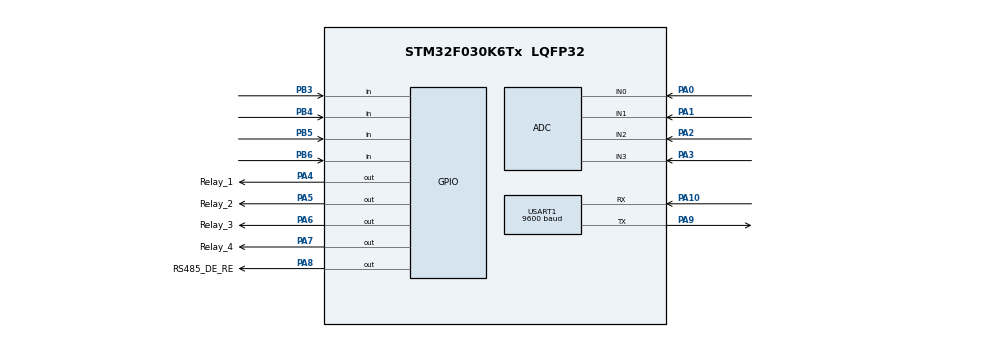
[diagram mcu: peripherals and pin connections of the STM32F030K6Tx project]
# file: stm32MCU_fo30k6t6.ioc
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Mcu.Family=STM32F0
Mcu.Name=STM32F030K6Tx
Mcu.Package=LQFP32
NVIC.USART1_IRQn=true\:0\:0\:false\:false\:true\:true\:true\:true
PA0.Mode=IN0
PA0.Signal=ADC_IN0
PA1.Mode=IN1
PA1.Signal=ADC_IN1
PA10.Mode=Asynchronous
PA10.Signal=USART1_RX
PA2.Mode=IN2
PA2.Signal=ADC_IN2
PA3.Mode=IN3
PA3.Signal=ADC_IN3
PA4.GPIO_Label=Relay_1
PA4.GPIO_PuPd=GPIO_NOPULL
PA4.Signal=GPIO_Output
PA5.GPIO_Label=Relay_2
PA5.Signal=GPIO_Output
PA6.GPIO_Label=Relay_3
PA6.Signal=GPIO_Output
PA7.GPIO_Label=Relay_4
PA7.Signal=GPIO_Output
PA8.GPIO_Label=RS485_DE_RE
PA8.Signal=GPIO_Output
PA9.Mode=Asynchronous
PA9.Signal=USART1_TX
PB3.GPIO_PuPd=GPIO_PULLUP
PB3.Signal=GPIO_Input
PB4.GPIO_PuPd=GPIO_PULLUP
PB4.Signal=GPIO_Input
PB5.GPIO_PuPd=GPIO_PULLUP
PB5.Signal=GPIO_Input
PB6.GPIO_PuPd=GPIO_PULLUP
PB6.Signal=GPIO_Input
ProjectManager.HeapSize=0x200
ProjectManager.StackSize=0x400
ProjectManager.TargetToolchain=STM32CubeIDE
USART1.BaudRate=9600
USART1.VirtualMode-Asynchronous=VM_ASYNC
board=custom

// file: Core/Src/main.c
/* USER CODE BEGIN Header */
/**
  ******************************************************************************
  * @file           : main.c
  * @brief          : Main program body
  ******************************************************************************
  * @attention
  *
  * Copyright (c) 2026 STMicroelectronics.
  * All rights reserved.
  *
  * This software is licensed under terms that can be found in the LICENSE file
  * in the root directory of this software component.
  * If no LICENSE file comes with this software, it is provided AS-IS.
  *
  ******************************************************************************
  */
/* USER CODE END Header */
#include "main.h"

/* USER CODE BEGIN Includes */
#include <stdio.h>   // for sprintf
#include <string.h>  // for strlen
/* USER CODE END Includes */

ADC_HandleTypeDef hadc;

UART_HandleTypeDef huart1;

/* USER CODE BEGIN PV */

#define RX_BUFFER_SIZE 64
uint8_t rxBuffer[RX_BUFFER_SIZE];

uint16_t adcValue[4] ={0};
void My_ADC_Init(void);
static HAL_StatusTypeDef My_ADC_ConfigChannel(uint32_t channel);
uint16_t My_ADC_Read(uint32_t channel);

#define NUM_COILS 4
uint8_t coilStatus[NUM_COILS] = {0};
uint16_t coilPinMap[NUM_COILS] = {Relay_1_Pin, Relay_2_Pin, Relay_3_Pin, Relay_4_Pin};
GPIO_TypeDef* coilPortMap[NUM_COILS] = {Relay_1_GPIO_Port, Relay_2_GPIO_Port, Relay_3_GPIO_Port, Relay_4_GPIO_Port};
/* USER CODE END PV */

void SystemClock_Config(void);
static void MX_GPIO_Init(void);
static void MX_ADC_Init(void);
static void MX_USART1_UART_Init(void);
/* USER CODE BEGIN PFP */
uint16_t Analog_Read(uint32_t channel);

/* USER CODE END PFP */

int main(void)
{

  /* MCU Configuration--------------------------------------------------------*/

  /* Reset of all peripherals, Initializes the Flash interface and the Systick. */
  HAL_Init();

  /* Configure the system clock */
  SystemClock_Config();

  /* Initialize all configured peripherals */
  MX_GPIO_Init();
  MX_ADC_Init();
  MX_USART1_UART_Init();
  /* USER CODE BEGIN 2 */
  My_ADC_Init();

  HAL_GPIO_WritePin(RS485_DE_RE_GPIO_Port, RS485_DE_RE_Pin, GPIO_PIN_RESET); // RX mode
  HAL_UARTEx_ReceiveToIdle_IT(&huart1, rxBuffer, RX_BUFFER_SIZE);

  /* USER CODE END 2 */

  /* Infinite loop */
  while (1)
  {

    /* USER CODE BEGIN 3 */

	          adcValue[0] = My_ADC_Read(ADC_CHANNEL_0); // PA0
	  	      HAL_Delay(300);

	  	      adcValue[1] = My_ADC_Read(ADC_CHANNEL_1); // PA1
	  	      HAL_Delay(300);

	  	      adcValue[2] = My_ADC_Read(ADC_CHANNEL_2); // PA2
	  	      HAL_Delay(300);

  }
  /* USER CODE END 3 */
}

void SystemClock_Config(void)
{
  RCC_OscInitTypeDef RCC_OscInitStruct = {0};
  RCC_ClkInitTypeDef RCC_ClkInitStruct = {0};
  RCC_PeriphCLKInitTypeDef PeriphClkInit = {0};

  /** Initializes the RCC Oscillators according to the specified parameters
  * in the RCC_OscInitTypeDef structure.
  */
  RCC_OscInitStruct.OscillatorType = RCC_OSCILLATORTYPE_HSI|RCC_OSCILLATORTYPE_HSI14;
  RCC_OscInitStruct.HSIState = RCC_HSI_ON;
  RCC_OscInitStruct.HSI14State = RCC_HSI14_ON;
  RCC_OscInitStruct.HSICalibrationValue = RCC_HSICALIBRATION_DEFAULT;
  RCC_OscInitStruct.HSI14CalibrationValue = 16;
  RCC_OscInitStruct.PLL.PLLState = RCC_PLL_NONE;
  if (HAL_RCC_OscConfig(&RCC_OscInitStruct) != HAL_OK)
  {
    Error_Handler();
  }

  /** Initializes the CPU, AHB and APB buses clocks
  */
  RCC_ClkInitStruct.ClockType = RCC_CLOCKTYPE_HCLK|RCC_CLOCKTYPE_SYSCLK
                              |RCC_CLOCKTYPE_PCLK1;
  RCC_ClkInitStruct.SYSCLKSource = RCC_SYSCLKSOURCE_HSI;
  RCC_ClkInitStruct.AHBCLKDivider = RCC_SYSCLK_DIV1;
  RCC_ClkInitStruct.APB1CLKDivider = RCC_HCLK_DIV1;

  if (HAL_RCC_ClockConfig(&RCC_ClkInitStruct, FLASH_LATENCY_0) != HAL_OK)
  {
    Error_Handler();
  }
  PeriphClkInit.PeriphClockSelection = RCC_PERIPHCLK_USART1;
  PeriphClkInit.Usart1ClockSelection = RCC_USART1CLKSOURCE_PCLK1;
  if (HAL_RCCEx_PeriphCLKConfig(&PeriphClkInit) != HAL_OK)
  {
    Error_Handler();
  }
}

static void MX_ADC_Init(void)
{

  ADC_ChannelConfTypeDef sConfig = {0};

  /** Configure the global features of the ADC (Clock, Resolution, Data Alignment and number of conversion)
  */
  hadc.Instance = ADC1;
  hadc.Init.ClockPrescaler = ADC_CLOCK_ASYNC_DIV1;
  hadc.Init.Resolution = ADC_RESOLUTION_12B;
  hadc.Init.DataAlign = ADC_DATAALIGN_RIGHT;
  hadc.Init.ScanConvMode = ADC_SCAN_DIRECTION_FORWARD;
  hadc.Init.EOCSelection = ADC_EOC_SINGLE_CONV;
  hadc.Init.LowPowerAutoWait = DISABLE;
  hadc.Init.LowPowerAutoPowerOff = DISABLE;
  hadc.Init.ContinuousConvMode = DISABLE;
  hadc.Init.DiscontinuousConvMode = DISABLE;
  hadc.Init.ExternalTrigConv = ADC_SOFTWARE_START;
  hadc.Init.ExternalTrigConvEdge = ADC_EXTERNALTRIGCONVEDGE_NONE;
  hadc.Init.DMAContinuousRequests = DISABLE;
  hadc.Init.Overrun = ADC_OVR_DATA_PRESERVED;
  if (HAL_ADC_Init(&hadc) != HAL_OK)
  {
    Error_Handler();
  }

  /** Configure for the selected ADC regular channel to be converted.
  */
  sConfig.Channel = ADC_CHANNEL_0;
  sConfig.Rank = ADC_RANK_CHANNEL_NUMBER;
  sConfig.SamplingTime = ADC_SAMPLETIME_1CYCLE_5;
  if (HAL_ADC_ConfigChannel(&hadc, &sConfig) != HAL_OK)
  {
    Error_Handler();
  }

  /** Configure for the selected ADC regular channel to be converted.
  */
  sConfig.Channel = ADC_CHANNEL_1;
  if (HAL_ADC_ConfigChannel(&hadc, &sConfig) != HAL_OK)
  {
    Error_Handler();
  }

  /** Configure for the selected ADC regular channel to be converted.
  */
  sConfig.Channel = ADC_CHANNEL_2;
  if (HAL_ADC_ConfigChannel(&hadc, &sConfig) != HAL_OK)
  {
    Error_Handler();
  }

  /** Configure for the selected ADC regular channel to be converted.
  */
  sConfig.Channel = ADC_CHANNEL_3;
  if (HAL_ADC_ConfigChannel(&hadc, &sConfig) != HAL_OK)
  {
    Error_Handler();
  }

}

static void MX_USART1_UART_Init(void)
{

  huart1.Instance = USART1;
  huart1.Init.BaudRate = 9600;
  huart1.Init.WordLength = UART_WORDLENGTH_8B;
  huart1.Init.StopBits = UART_STOPBITS_1;
  huart1.Init.Parity = UART_PARITY_NONE;
  huart1.Init.Mode = UART_MODE_TX_RX;
  huart1.Init.HwFlowCtl = UART_HWCONTROL_NONE;
  huart1.Init.OverSampling = UART_OVERSAMPLING_16;
  huart1.Init.OneBitSampling = UART_ONE_BIT_SAMPLE_DISABLE;
  huart1.AdvancedInit.AdvFeatureInit = UART_ADVFEATURE_NO_INIT;
  if (HAL_UART_Init(&huart1) != HAL_OK)
  {
    Error_Handler();
  }

}

static void MX_GPIO_Init(void)
{
  GPIO_InitTypeDef GPIO_InitStruct = {0};

  /* GPIO Ports Clock Enable */
  __HAL_RCC_GPIOA_CLK_ENABLE();
  __HAL_RCC_GPIOB_CLK_ENABLE();

  /*Configure GPIO pin Output Level */
  HAL_GPIO_WritePin(GPIOA, Relay_1_Pin|Relay_2_Pin|Relay_3_Pin|Relay_4_Pin
                          |RS485_DE_RE_Pin, GPIO_PIN_RESET);

  /*Configure GPIO pins : Relay_1_Pin Relay_2_Pin Relay_3_Pin Relay_4_Pin
                           RS485_DE_RE_Pin */
  GPIO_InitStruct.Pin = Relay_1_Pin|Relay_2_Pin|Relay_3_Pin|Relay_4_Pin
                          |RS485_DE_RE_Pin;
  GPIO_InitStruct.Mode = GPIO_MODE_OUTPUT_PP;
  GPIO_InitStruct.Pull = GPIO_NOPULL;
  GPIO_InitStruct.Speed = GPIO_SPEED_FREQ_LOW;
  HAL_GPIO_Init(GPIOA, &GPIO_InitStruct);

  /*Configure GPIO pins : PB3 PB4 PB5 PB6 */
  GPIO_InitStruct.Pin = GPIO_PIN_3|GPIO_PIN_4|GPIO_PIN_5|GPIO_PIN_6;
  GPIO_InitStruct.Mode = GPIO_MODE_INPUT;
  GPIO_InitStruct.Pull = GPIO_PULLUP;
  HAL_GPIO_Init(GPIOB, &GPIO_InitStruct);

}

/* USER CODE BEGIN 4 */
uint16_t Modbus_CRC16(uint8_t *buf, uint16_t len)
{
    uint16_t crc = 0xFFFF;
    for (uint16_t pos = 0; pos < len; pos++) {
        crc ^= buf[pos];
        for (int i = 0; i < 8; i++) {
            if (crc & 0x0001) {
                crc >>= 1;
                crc ^= 0xA001;
            } else {
                crc >>= 1;
            }
        }
    }
    return crc;
}

void My_ADC_Init(void)
{
    MX_ADC_Init();                       // CubeMX generated init
    HAL_ADCEx_Calibration_Start(&hadc);  // Add calibration step
}

static HAL_StatusTypeDef My_ADC_ConfigChannel(uint32_t channel)
{
    ADC_ChannelConfTypeDef sConfig = {0};
    sConfig.Channel = channel;
    sConfig.Rank = ADC_RANK_CHANNEL_NUMBER;
    sConfig.SamplingTime = ADC_SAMPLETIME_55CYCLES_5;
    return HAL_ADC_ConfigChannel(&hadc, &sConfig);
}

uint16_t My_ADC_Read(uint32_t channel)
{
    if (My_ADC_ConfigChannel(channel) != HAL_OK)
        return 0;

    HAL_ADC_Start(&hadc);
    HAL_ADC_PollForConversion(&hadc, HAL_MAX_DELAY);
    uint16_t value = HAL_ADC_GetValue(&hadc);
    HAL_ADC_Stop(&hadc);

    return value;
}

void Coil_Write(uint8_t coilIndex, uint8_t value)
{
    if (coilIndex < NUM_COILS) {
        coilStatus[coilIndex] = value ? 1 : 0;
        HAL_GPIO_WritePin(coilPortMap[coilIndex], coilPinMap[coilIndex],
                          value ? GPIO_PIN_SET : GPIO_PIN_RESET);
    }
}

uint8_t Coil_Read(uint8_t coilIndex)
{
    if (coilIndex < NUM_COILS) {
        GPIO_PinState state = HAL_GPIO_ReadPin(coilPortMap[coilIndex], coilPinMap[coilIndex]);
        return (state == GPIO_PIN_SET) ? 1 : 0;
    }
    return 0;
}

#define MODBUS_SLAVE_ADDR 0x01

void Modbus_Handle(uint8_t *frame, uint16_t size)
{
    if (size < 4) return;

    uint16_t crcCalc = Modbus_CRC16(frame, size-2);
    uint16_t crcRecv = frame[size-2] | (frame[size-1] << 8);
    if (crcCalc != crcRecv) return;

    if (frame[0] != MODBUS_SLAVE_ADDR) return;

    uint8_t func = frame[1];
    uint8_t txBuf[32];
    uint16_t txLen = 0;

    if (func == 0x01) { // Read Coils
        uint16_t start = (frame[2] << 8) | frame[3];
        uint16_t qty   = (frame[4] << 8) | frame[5];
        txBuf[0] = frame[0];
        txBuf[1] = func;
        txBuf[2] = (qty+7)/8;
        memset(&txBuf[3], 0, (qty+7)/8);

        for (int i=0; i<qty; i++) {
            if (Coil_Read(start+i))
                txBuf[3 + (i/8)] |= (1 << (i%8));
        }
        txLen = 3 + txBuf[2];
    }
    else if (func == 0x05) { // Write Single Coil
        uint16_t coil = (frame[2] << 8) | frame[3];
        uint16_t val  = (frame[4] << 8) | frame[5];
        Coil_Write(coil, (val == 0xFF00) ? 1 : 0);
        memcpy(txBuf, frame, 6);
        txLen = 6;
    }

    else if (func == 0x04) { // Read Input Registers
        uint16_t start = (frame[2] << 8) | frame[3];
        uint16_t qty   = (frame[4] << 8) | frame[5];

        txBuf[0] = frame[0];
        txBuf[1] = func;
        txBuf[2] = qty * 2; // byte count

        for (int i=0; i<qty; i++) {
            uint16_t val = 0;
            switch (start+i) {
            case 0: val = My_ADC_Read(ADC_CHANNEL_0); break;
            case 1: val = My_ADC_Read(ADC_CHANNEL_1); break;
            case 2: val = My_ADC_Read(ADC_CHANNEL_2); break;
            case 3: val = My_ADC_Read(ADC_CHANNEL_3); break;

            }
            txBuf[3 + i*2] = (val >> 8) & 0xFF;
            txBuf[4 + i*2] = val & 0xFF;
        }
        txLen = 3 + qty*2;
    }

    uint16_t crc = Modbus_CRC16(txBuf, txLen);
    txBuf[txLen++] = crc & 0xFF;
    txBuf[txLen++] = (crc >> 8) & 0xFF;

    // Enable RS485 transmit
    HAL_GPIO_WritePin(RS485_DE_RE_GPIO_Port, RS485_DE_RE_Pin, GPIO_PIN_SET);
    HAL_UART_Transmit(&huart1, txBuf, txLen, HAL_MAX_DELAY);

    HAL_GPIO_WritePin(RS485_DE_RE_GPIO_Port, RS485_DE_RE_Pin, GPIO_PIN_RESET);

}

void HAL_UARTEx_RxEventCallback(UART_HandleTypeDef *huart, uint16_t Size)
{
    if (huart->Instance == USART1)
    {
        Modbus_Handle(rxBuffer, Size);
        HAL_UARTEx_ReceiveToIdle_IT(&huart1, rxBuffer, RX_BUFFER_SIZE);
    }
}

/* USER CODE END 4 */

void Error_Handler(void)
{
  __disable_irq();
  while (1)
  {
  }
}
